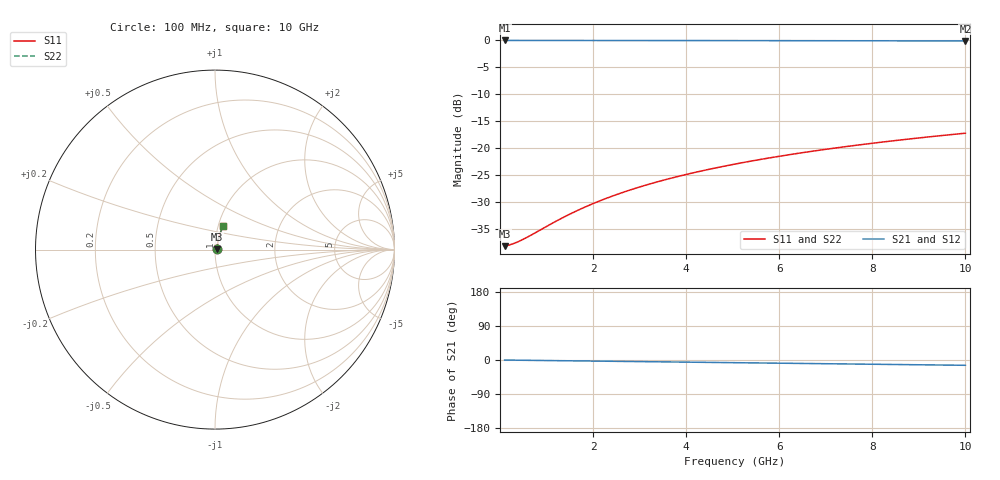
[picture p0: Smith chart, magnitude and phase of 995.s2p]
# Hz S RI R 50.00
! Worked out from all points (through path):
!   100 points, 100 MHz to 10 GHz, reference 50 ohm
!   highest |S21| = -0.11 dB at 100 MHz (marker M1); lowest = -0.2 dB at 10 GHz (marker M2)
!   group delay of S21, straight-line fit = 3.88 ps
!   lowest |S11| = -38.2 dB at 100 MHz (marker M3), VSWR 1.02, Z = 51.2 + j0.139 ohm
!   |S11| at or under -10 dB: start of sweep to end of sweep
!   |S22| runs from -38.2 to -17.3 dB; largest |S21 - S12| = 0
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1e8  0.0122 0.00135  0.9878 -0.00242  0.9878 -0.00242  0.0122 0.00135
2e8  0.0123 0.0027  0.9877 -0.00485  0.9877 -0.00485  0.0123 0.0027
3e8  0.0124 0.00406  0.9876 -0.00727  0.9876 -0.00727  0.0124 0.00406
5e8  0.0125 0.00676  0.9875 -0.0121  0.9875 -0.0121  0.0125 0.00676
7e8  0.0126 0.00946  0.9873 -0.017  0.9873 -0.017  0.0126 0.00946
1.3e9  0.0132 0.0175  0.9867 -0.0315  0.9867 -0.0315  0.0132 0.0175
1.5e9  0.0134 0.0202  0.9864 -0.0363  0.9864 -0.0363  0.0134 0.0202
1.8e9  0.0138 0.0243  0.986 -0.0436  0.986 -0.0436  0.0138 0.0243
2.1e9  0.0142 0.0283  0.9855 -0.0508  0.9855 -0.0508  0.0142 0.0283
2.5e9  0.0149 0.0337  0.9847 -0.0604  0.9847 -0.0604  0.0149 0.0337
2.9e9  0.0156 0.039  0.9838 -0.0701  0.9838 -0.0701  0.0156 0.039
3.4e9  0.0167 0.0457  0.9826 -0.0821  0.9826 -0.0821  0.0167 0.0457
3.8e9  0.0177 0.0509  0.9814 -0.0917  0.9814 -0.0917  0.0177 0.0509
4.2e9  0.0188 0.0562  0.9801 -0.1012  0.9801 -0.1012  0.0188 0.0562
4.6e9  0.02 0.0615  0.9787 -0.1108  0.9787 -0.1108  0.02 0.0615
5.1e9  0.0217 0.068  0.9768 -0.1227  0.9768 -0.1227  0.0217 0.068
5.9e9  0.0246 0.0783  0.9733 -0.1416  0.9733 -0.1416  0.0246 0.0783
6.7e9  0.0279 0.0885  0.9694 -0.1603  0.9694 -0.1603  0.0279 0.0885
7.5e9  0.0316 0.0985  0.965 -0.179  0.965 -0.179  0.0316 0.0985
8.4e9  0.0363 0.1096  0.9596 -0.1997  0.9596 -0.1997  0.0363 0.1096
9.2e9  0.0408 0.1193  0.9542 -0.218  0.9542 -0.218  0.0408 0.1193
1e10  0.0457 0.1287  0.9484 -0.236  0.9484 -0.236  0.0457 0.1287
